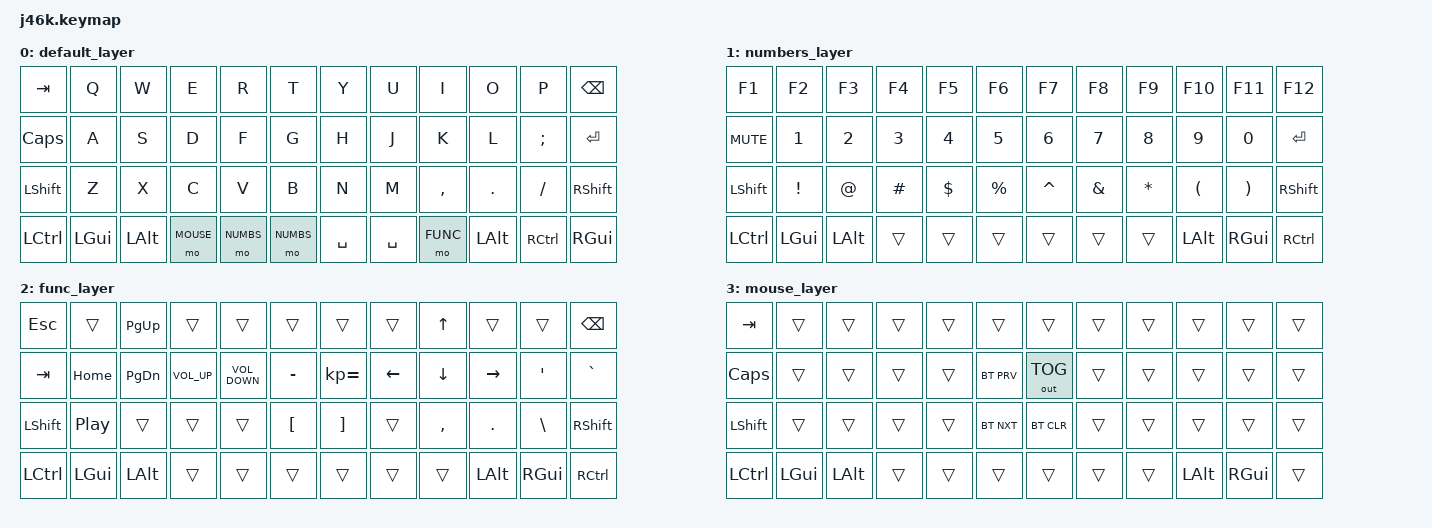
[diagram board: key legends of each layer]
/*
 * Copyright (c) 2020 The ZMK Contributors
 *
 * SPDX-License-Identifier: MIT
 */

#include <behaviors.dtsi>
#include <dt-bindings/zmk/keys.h>
#include <dt-bindings/zmk/bt.h>

#include <behaviors.dtsi>
#include <dt-bindings/zmk/keys.h>
#include <dt-bindings/zmk/bt.h>
#include <dt-bindings/zmk/outputs.h>

#define DEFAULT 0
#define NUMBS   1
#define FUNC    2
#define MOUSE   3

/ {
    keymap {
        compatible = "zmk,keymap";

        default_layer {
            bindings = <
        &kp TAB    &kp Q    &kp W    &kp E     &kp R     &kp T     &kp Y     &kp U     &kp I     &kp O    &kp   P   &kp BSPC
        &kp CLCK   &kp A    &kp S    &kp D     &kp F     &kp G     &kp H     &kp J     &kp K     &kp L    &kp SEMI  &kp RET
        &kp LSHIFT &kp Z    &kp X    &kp C     &kp V     &kp B     &kp N     &kp M     &kp COMMA &kp DOT  &kp FSLH  &kp RSHFT
        &kp LCTRL  &kp LGUI &kp LALT &mo MOUSE &mo NUMBS &mo NUMBS &kp SPACE &kp SPACE &mo FUNC  &kp LALT &kp RCTRL &kp RGUI 
            >;
        };

        numbers_layer {
            bindings = <
        &kp F1     &kp F2   &kp F3   &kp F4    &kp F5    &kp F6    &kp F7    &kp F8    &kp F9       &kp F10    &kp F11   &kp F12
        &kp C_MUTE &kp N1   &kp N2   &kp N3    &kp N4    &kp N5    &kp N6    &kp N7    &kp N8       &kp N9     &kp N0    &kp RET
        &kp LSHIFT &kp EXCL &kp AT   &kp HASH  &kp DLLR  &kp PRCNT &kp CARET &kp AMPS  &kp ASTERISK &kp LPAR   &kp RPAR  &kp RSHFT
        &kp LCTRL  &kp LGUI &kp LALT &trans    &trans    &trans    &trans    &trans    &trans       &kp LALT   &kp RGUI  &kp RCTRL
            >;
        };

        func_layer {
            bindings = <
        &kp ESC    &trans   &kp PG_UP &trans       &trans            &trans    &trans       &trans    &kp UP    &trans    &trans   &kp BSPC
        &kp TAB    &kp HOME &kp PG_DN &kp C_VOL_UP &kp C_VOLUME_DOWN &kp MINUS &kp KP_EQUAL &kp LEFT  &kp DOWN  &kp RIGHT &kp SQT  &kp GRAVE
        &kp LSHIFT &kp C_PP &trans    &trans       &trans            &kp LBKT  &kp RBKT     &trans    &kp COMMA &kp DOT   &kp BSLH &kp RSHFT
        &kp LCTRL  &kp LGUI &kp LALT  &trans       &trans            &trans    &trans       &trans    &trans    &kp LALT  &kp RGUI &kp RCTRL
            >;
        };

        mouse_layer {
            bindings = <
        &kp TAB    &trans   &trans   &trans   &trans   &trans     &trans       &trans   &trans     &trans   &trans   &trans
        &kp CLCK   &trans   &trans   &trans   &trans   &bt BT_PRV &out OUT_TOG &trans   &trans     &trans   &trans   &trans
        &kp LSHIFT &trans   &trans   &trans   &trans   &bt BT_NXT &bt BT_CLR   &trans   &trans     &trans   &trans   &trans
        &kp LCTRL  &kp LGUI &kp LALT &trans    &trans  &trans     &trans       &trans    &trans    &kp LALT &kp RGUI &trans
            >;
        };
    };
};


